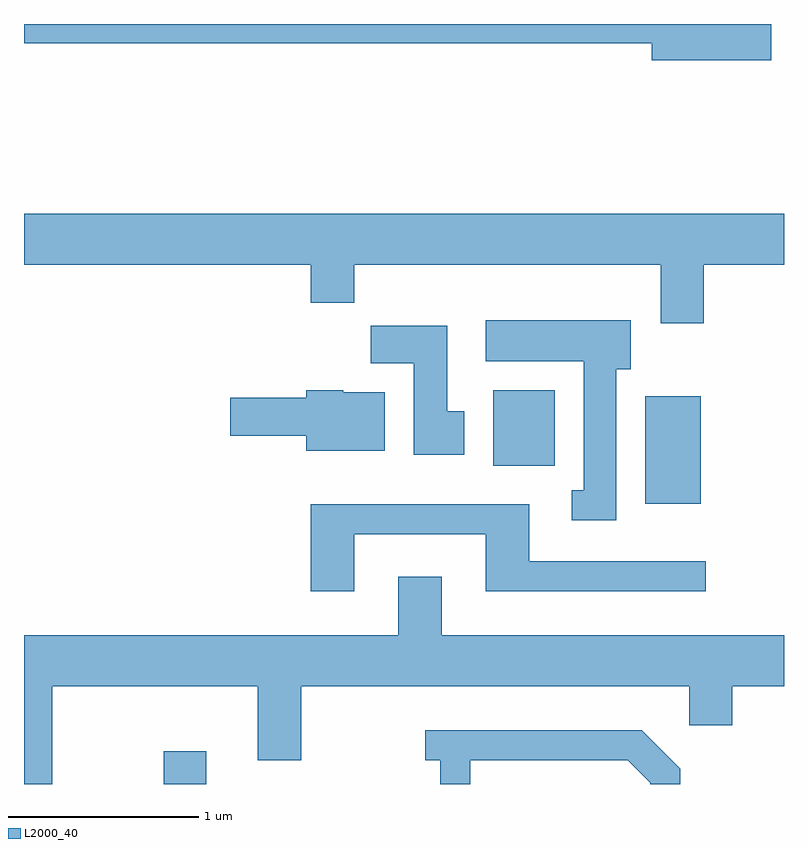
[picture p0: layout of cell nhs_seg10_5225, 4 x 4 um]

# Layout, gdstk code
import gdstk
lib = gdstk.Library(unit=1e-6, precision=1e-09)
def R(c, l, rs):  # rectangles x0, y0, x1, y1
    for r in rs: c.add(gdstk.rectangle(r[:2], r[2:], *l))
def P(c, l, *ps):  # polygons
    for p in ps: c.add(gdstk.Polygon(p, *l))
L2000_40 = (2000, 40)

nhs_seg10_5225 = lib.new_cell('nhs_seg10_5225')
R(nhs_seg10_5225, L2000_40, [(340.346,2104.522,340.569,2104.694), (342.881,2105.996,343.174,2106.564), (342.081,2106.196,342.404,2106.594)])
P(nhs_seg10_5225, L2000_40, [(343.544,2108.522),(339.611,2108.522),(339.611,2108.421),(342.916,2108.421),(342.916,2108.331),(343.544,2108.331)],
  [(343.189,2107.256),(343.611,2107.256),(343.611,2107.524),(339.611,2107.524),(339.611,2107.256),(341.121,2107.256),(341.121,2107.056),(341.349,2107.056),(341.349,2107.256),(342.961,2107.256),(342.961,2106.946),(343.189,2106.946)],
  [(342.729,2106.706),(342.804,2106.706),(342.804,2106.964),(342.041,2106.964),(342.041,2106.746),(342.556,2106.746),(342.556,2106.069),(342.493,2106.069),(342.493,2105.911),(342.729,2105.911)],
  [(341.929,2106.484),(341.839,2106.484),(341.839,2106.934),(341.436,2106.934),(341.436,2106.736),(341.661,2106.736),(341.661,2106.256),(341.929,2106.256)],
  [(341.509,2106.584),(341.29,2106.584),(341.29,2106.594),(341.096,2106.594),(341.096,2106.554),(340.696,2106.554),(340.696,2106.356),(341.096,2106.356),(341.096,2106.276),(341.509,2106.276)],
  [(341.349,2105.836),(342.041,2105.836),(342.041,2105.536),(343.198,2105.536),(343.198,2105.694),(342.269,2105.694),(342.269,2105.994),(341.121,2105.994),(341.121,2105.536),(341.349,2105.536)],
  [(339.759,2105.036),(340.841,2105.036),(340.841,2104.646),(341.069,2104.646),(341.069,2105.036),(343.111,2105.036),(343.111,2104.831),(343.339,2104.831),(343.339,2105.036),(343.611,2105.036),(343.611,2105.304),(341.809,2105.304),(341.809,2105.614),(341.581,2105.614),(341.581,2105.304),(339.611,2105.304),(339.611,2104.522),(339.759,2104.522)],
  [(341.959,2104.646),(342.789,2104.646),(342.906,2104.529),(342.906,2104.522),(343.064,2104.522),(343.064,2104.602),(342.862,2104.804),(341.723,2104.804),(341.723,2104.646),(341.801,2104.646),(341.801,2104.522),(341.959,2104.522)])

lib.write_gds('nhs_seg10_5225.gds')
